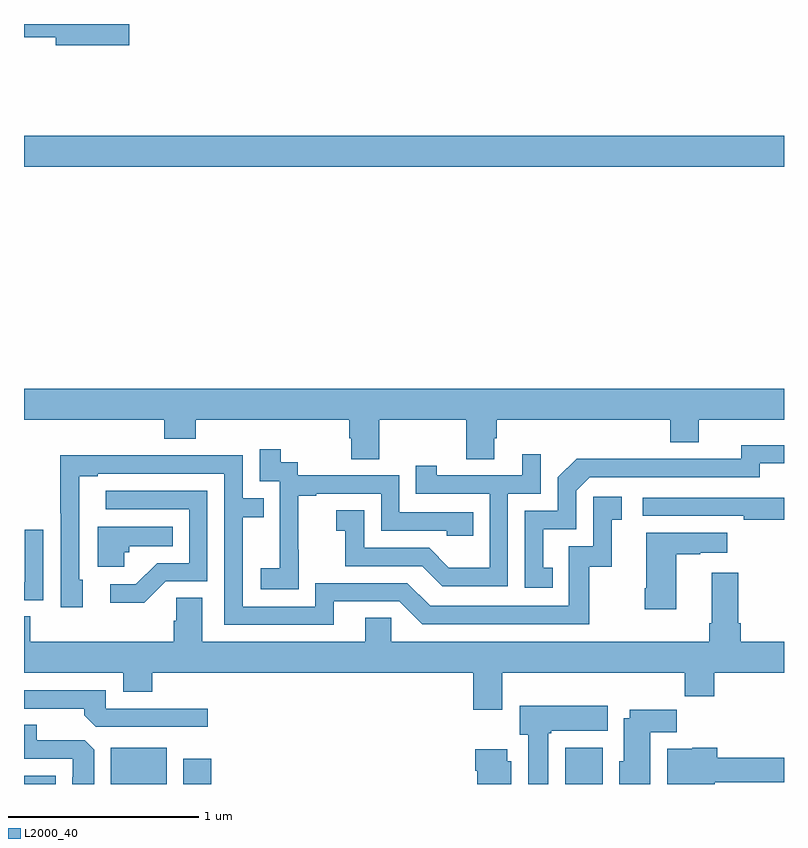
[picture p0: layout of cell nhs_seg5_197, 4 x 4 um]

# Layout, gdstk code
import gdstk
lib = gdstk.Library(unit=1e-6, precision=1e-09)
def R(c, l, rs):  # rectangles x0, y0, x1, y1
    for r in rs: c.add(gdstk.rectangle(r[:2], r[2:], *l))
def P(c, l, *ps):  # polygons
    for p in ps: c.add(gdstk.Polygon(p, *l))
L2000_40 = (2000, 40)

nhs_seg5_197 = lib.new_cell('nhs_seg5_197')
R(nhs_seg5_197, L2000_40, [(121,898.799,121.168,898.843), (121.457,898.799,121.75,898.99), (121.838,898.799,121.985,898.933), (123.848,898.799,124.045,898.99), (121,902.048,125,902.212)])
P(nhs_seg5_197, L2000_40, [(121.555,902.799),(121,902.799),(121,902.728),(121.166,902.728),(121.166,902.686),(121.555,902.686)],
  [(122.871,900.716),(123.328,900.716),(123.328,900.508),(123.475,900.508),(123.475,900.618),(123.488,900.618),(123.488,900.716),(124.4,900.716),(124.4,900.599),(124.552,900.599),(124.552,900.716),(125,900.716),(125,900.88),(121,900.88),(121,900.716),(121.739,900.716),(121.739,900.617),(121.904,900.617),(121.904,900.716),(122.711,900.716),(122.711,900.618),(122.723,900.618),(122.723,900.508),(122.871,900.508)],
  [(123.782,899.937),(123.733,899.937),(123.733,900.141),(123.906,900.141),(123.906,900.342),(123.978,900.414),(124.872,900.414),(124.872,900.486),(125,900.486),(125,900.583),(124.776,900.583),(124.776,900.51),(124.316,900.51),(124.316,900.512),(123.908,900.512),(123.81,900.414),(123.81,900.237),(123.636,900.237),(123.636,899.832),(123.782,899.832)],
  [(122.445,900.031),(122.444,900.031),(122.444,900.315),(122.539,900.315),(122.539,900.327),(122.88,900.327),(122.88,900.132),(123.225,900.132),(123.225,900.105),(123.365,900.105),(123.365,900.228),(122.976,900.228),(122.976,900.423),(122.442,900.423),(122.442,900.492),(122.35,900.492),(122.35,900.562),(122.241,900.562),(122.241,900.393),(122.346,900.393),(122.346,900.164),(122.345,900.164),(122.345,899.935),(122.247,899.935),(122.247,899.825),(122.445,899.825)],
  [(123.546,900.327),(123.72,900.327),(123.72,900.535),(123.623,900.535),(123.623,900.423),(123.172,900.423),(123.172,900.475),(123.061,900.475),(123.061,900.327),(123.45,900.327),(123.45,899.938),(123.236,899.938),(123.132,900.042),(122.79,900.042),(122.79,900.241),(122.643,900.241),(122.643,900.131),(122.692,900.131),(122.692,899.946),(123.095,899.946),(123.2,899.841),(123.546,899.841)],
  [(122.629,899.76),(122.976,899.76),(123.096,899.64),(123.976,899.64),(123.976,899.943),(124.094,899.943),(124.094,900.189),(124.147,900.189),(124.147,900.31),(123.996,900.31),(123.996,900.051),(123.867,900.051),(123.867,899.736),(123.138,899.736),(123.018,899.856),(122.532,899.856),(122.532,899.733),(122.151,899.733),(122.151,900.202),(122.261,900.202),(122.261,900.303),(122.151,900.303),(122.151,900.528),(121.655,900.528),(121.655,900.53),(121.192,900.53),(121.192,900.223),(121.194,900.223),(121.194,899.73),(121.309,899.73),(121.309,899.874),(121.29,899.874),(121.29,900.42),(121.387,900.42),(121.387,900.432),(122.055,900.432),(122.055,899.637),(122.629,899.637)],
  [(121.746,899.865),(121.965,899.865),(121.965,900.342),(121.431,900.342),(121.431,900.246),(121.869,900.246),(121.869,899.961),(121.7,899.961),(121.589,899.85),(121.455,899.85),(121.455,899.753),(121.633,899.753)],
  [(125,900.306),(124.257,900.306),(124.257,900.21),(124.789,900.21),(124.789,900.19),(125,900.19)],
  [(121.527,900.018),(121.554,900.018),(121.554,900.05),(121.784,900.05),(121.784,900.154),(121.388,900.154),(121.388,899.942),(121.527,899.942)],
  [(121.101,900.136),(121.005,900.136),(121.005,899.862),(121,899.862),(121,899.766),(121.101,899.766)],
  [(124.432,900.007),(124.559,900.007),(124.559,900.017),(124.702,900.017),(124.702,900.121),(124.274,900.121),(124.274,899.83),(124.267,899.83),(124.267,899.718),(124.432,899.718)],
  [(122.934,899.675),(122.795,899.675),(122.795,899.548),(121.939,899.548),(121.939,899.78),(121.8,899.78),(121.8,899.657),(121.787,899.657),(121.787,899.548),(121.034,899.548),(121.034,899.681),(121,899.681),(121,899.384),(121.523,899.384),(121.523,899.285),(121.676,899.285),(121.676,899.384),(123.365,899.384),(123.365,899.19),(123.517,899.19),(123.517,899.384),(124.477,899.384),(124.477,899.26),(124.634,899.26),(124.634,899.384),(125,899.384),(125,899.548),(124.772,899.548),(124.772,899.644),(124.759,899.644),(124.759,899.911),(124.619,899.911),(124.619,899.644),(124.607,899.644),(124.607,899.548),(122.934,899.548)],
  [(121.966,899.196),(121.431,899.196),(121.431,899.292),(121,899.292),(121,899.196),(121.316,899.196),(121.316,899.162),(121.377,899.1),(121.966,899.1)],
  [(123.76,899.065),(123.774,899.065),(123.774,899.078),(124.072,899.078),(124.072,899.212),(123.608,899.212),(123.608,899.058),(123.653,899.058),(123.653,898.799),(123.76,898.799)],
  [(124.297,899.072),(124.436,899.072),(124.436,899.191),(124.187,899.191),(124.187,899.146),(124.157,899.146),(124.157,898.92),(124.133,898.92),(124.133,898.799),(124.297,898.799)],
  [(121.369,898.979),(121.32,899.028),(121.066,899.028),(121.066,899.111),(121,899.111),(121,898.932),(121.257,898.932),(121.257,898.835),(121.253,898.835),(121.253,898.799),(121.369,898.799)],
  [(124.636,898.807),(125,898.807),(125,898.936),(124.649,898.936),(124.649,898.99),(124.518,898.99),(124.518,898.984),(124.385,898.984),(124.385,898.799),(124.636,898.799)],
  [(123.565,898.92),(123.544,898.92),(123.544,898.981),(123.374,898.981),(123.374,898.868),(123.386,898.868),(123.386,898.799),(123.565,898.799)])

lib.write_gds('nhs_seg5_197.gds')
